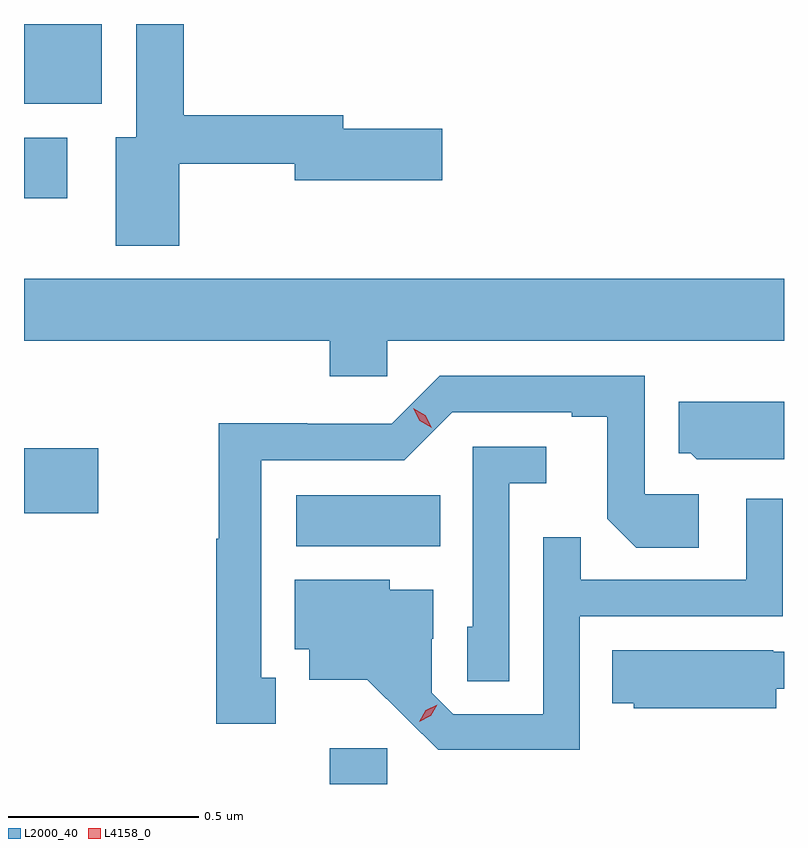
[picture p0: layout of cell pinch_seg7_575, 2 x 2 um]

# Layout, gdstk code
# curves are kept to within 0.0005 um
import gdstk
lib = gdstk.Library(unit=1e-6, precision=1e-09)
def R(c, l, rs):  # rectangles x0, y0, x1, y1
    for r in rs: c.add(gdstk.rectangle(r[:2], r[2:], *l))
def P(c, l, *ps):  # polygons
    for p in ps: c.add(gdstk.Polygon(p, *l))
L2000_40 = (2000, 40)
L4158_0 = (4158, 0)

pinch_seg7_575 = lib.new_cell('pinch_seg7_575')
R(pinch_seg7_575, L2000_40, [(139.019,1058.058,139.17,1058.152), (138.93,1058.684,139.31,1058.818), (138.214,1058.771,138.409,1058.941), (138.214,1059.6,138.328,1059.759), (138.214,1059.848,138.418,1060.058)])
P(pinch_seg7_575, L2000_40, [(138.622,1059.69),(138.926,1059.69),(138.926,1059.647),(139.315,1059.647),(139.315,1059.782),(139.054,1059.782),(139.054,1059.818),(138.635,1059.818),(138.635,1060.058),(138.509,1060.058),(138.509,1059.76),(138.455,1059.76),(138.455,1059.474),(138.622,1059.474)],
  [(138.214,1059.224),(139.019,1059.224),(139.019,1059.131),(139.17,1059.131),(139.17,1059.224),(140.214,1059.224),(140.214,1059.388),(138.214,1059.388)],
  [(138.877,1058.337),(138.838,1058.337),(138.838,1058.91),(139.215,1058.91),(139.341,1059.036),(139.655,1059.036),(139.655,1059.024),(139.749,1059.024),(139.749,1058.756),(139.825,1058.68),(139.99,1058.68),(139.99,1058.82),(139.848,1058.82),(139.848,1059.132),(139.308,1059.132),(139.182,1059.006),(138.96,1059.006),(138.96,1059.008),(138.727,1059.008),(138.727,1058.703),(138.72,1058.703),(138.72,1058.217),(138.877,1058.217)],
  [(140.118,1058.913),(140.214,1058.913),(140.214,1059.064),(139.937,1059.064),(139.937,1058.928),(139.968,1058.928),(139.984,1058.912),(140.118,1058.912)],
  [(139.491,1058.849),(139.588,1058.849),(139.588,1058.946),(139.395,1058.946),(139.395,1058.472),(139.38,1058.472),(139.38,1058.329),(139.491,1058.329)],
  [(139.677,1058.499),(140.211,1058.499),(140.211,1058.809),(140.115,1058.809),(140.115,1058.595),(139.679,1058.595),(139.679,1058.708),(139.581,1058.708),(139.581,1058.241),(139.344,1058.241),(139.287,1058.298),(139.287,1058.44),(139.291,1058.44),(139.291,1058.569),(139.176,1058.569),(139.176,1058.596),(138.926,1058.596),(138.926,1058.412),(138.965,1058.412),(138.965,1058.333),(139.117,1058.333),(139.304,1058.148),(139.677,1058.148)],
  [(140.194,1058.309),(140.214,1058.309),(140.214,1058.406),(140.186,1058.406),(140.186,1058.41),(139.762,1058.41),(139.762,1058.27),(139.818,1058.27),(139.818,1058.258),(140.194,1058.258)])
P(pinch_seg7_575, L4158_0, [(139.254,1058.222),(139.254,1058.222),(139.271,1058.252),(139.301,1058.267),(139.301,1058.267),(139.301,1058.267),(139.285,1058.237),(139.254,1058.222)],
  [(139.287,1058.996),(139.255,1059.014),(139.238,1059.047),(139.238,1059.047),(139.238,1059.047),(139.27,1059.028),(139.287,1058.996),(139.287,1058.996)])

lib.write_gds('pinch_seg7_575.gds')
